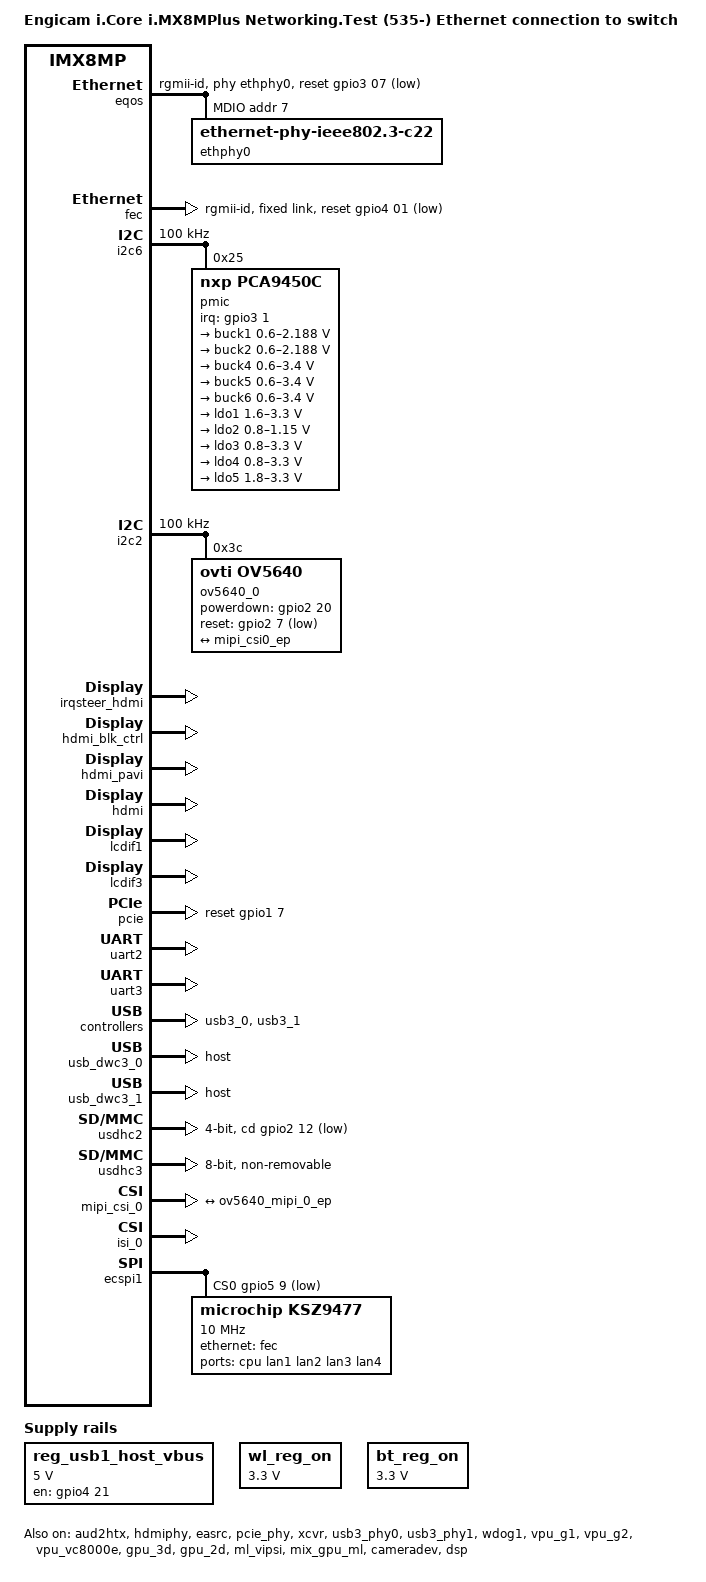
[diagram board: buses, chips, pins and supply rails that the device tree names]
// SPDX-License-Identifier: (GPL-2.0+ OR MIT)
/*
 * Copyright 2020 Engicam
 */

/dts-v1/;

#include <dt-bindings/usb/pd.h>
#include "../freescale/imx8mp.dtsi"


/ {
	model = "Engicam i.Core i.MX8MPlus  Networking.Test (535-) Ethernet connection to switch";
	compatible = "engi,icore-imx8mp", "fsl,imx8mp";

	reserved-memory {
		#address-cells = <2>;
		#size-cells = <2>;
		ranges;

		rpmsg_reserved: rpmsg@0x55800000 {
			no-map;
			reg = <0 0x55800000 0 0x800000>;
		};
	};

	chosen {
		stdout-path = &uart2;
	};

	reg_usb1_host_vbus: regulator-usb1-vbus {
		compatible = "regulator-fixed";
		regulator-name = "usb1_host_vbus";
		pinctrl-names = "default";
		pinctrl-0 = <&pinctrl_usb1_vbus>;
		regulator-min-microvolt = <5000000>;
		regulator-max-microvolt = <5000000>;
		gpio = <&gpio4 21 GPIO_ACTIVE_HIGH>;
		enable-active-high;
		regulator-always-on;
	};


	wl_reg_on: regulator-wlregon {
		compatible = "regulator-fixed";
		regulator-name = "WL_REG_ON";
		regulator-min-microvolt = <3300000>;
		regulator-max-microvolt = <3300000>;
		always-on;
	};

	bt_reg_on: regulator-btregon {
		compatible = "regulator-fixed";
		regulator-name = "BT_REG_ON";
		regulator-min-microvolt = <3300000>;
		regulator-max-microvolt = <3300000>;
		always-on;
	};

	sound-hdmi {
		compatible = "fsl,imx-audio-cdnhdmi";
		model = "audio-hdmi";
		audio-cpu = <&aud2htx>;
		hdmi-out;
		constraint-rate = <44100>,
				<88200>,
				<176400>,
				<32000>,
				<48000>,
				<96000>,
				<192000>;
		status = "okay";
	};

};

&aud2htx {
	status = "okay";
};

&clk {
	init-on-array = <IMX8MP_CLK_HSIO_ROOT>;
};

&A53_0 {
	cpu-supply = <&buck2>;
};

&A53_1 {
	cpu-supply = <&buck2>;
};

&A53_2 {
	cpu-supply = <&buck2>;
};

&A53_3 {
	cpu-supply = <&buck2>;
};

&eqos {
	pinctrl-names = "default";
	pinctrl-0 = <&pinctrl_eqos>;
	phy-mode = "rgmii-id";
	phy-handle = <&ethphy0>;
	status = "okay";

	snps,reset-gpio = <&gpio3 07 GPIO_ACTIVE_LOW>;
	snps,reset-active-low;

	mdio {
		compatible = "snps,dwmac-mdio";
		#address-cells = <1>;
		#size-cells = <0>;

		ethphy0: ethernet-phy@7 {
			compatible = "ethernet-phy-ieee802.3-c22";
			reg = <7>;
			eee-broken-1000t;
		};
	};
};

&fec {
	pinctrl-names = "default";
	pinctrl-0 = <&pinctrl_fec>;
	phy-mode = "rgmii-id";
	fsl,magic-packet;
	status = "okay";

	snps,reset-gpio = <&gpio4 01 GPIO_ACTIVE_LOW>;
	snps,reset-active-low;

	fixed-link {
	    speed = <1000>;
	    full-duplex;
	};
};

&i2c6 {
	clock-frequency = <100000>;
	pinctrl-names = "default";
	pinctrl-0 = <&pinctrl_i2c6>;
	status = "okay";

	pmic: pca9450@25 {
		reg = <0x25>;
		compatible = "nxp,pca9450c";
		/* PMIC PCA9450 PMIC_nINT GPIO1_IO3 */
		pinctrl-0 = <&pinctrl_pmic>;
		interrupt-parent = <&gpio3>;
		interrupts = <1 GPIO_ACTIVE_LOW>;

		regulators {
			buck1: BUCK1 {
				regulator-name = "BUCK1";
				regulator-min-microvolt = <600000>;
				regulator-max-microvolt = <2187500>;
				regulator-boot-on;
				regulator-always-on;
				regulator-ramp-delay = <3125>;
			};

			buck2: BUCK2 {
				regulator-name = "BUCK2";
				regulator-min-microvolt = <600000>;
				regulator-max-microvolt = <2187500>;
				regulator-boot-on;
				regulator-always-on;
				regulator-ramp-delay = <3125>;
				nxp,dvs-run-voltage = <950000>;
				nxp,dvs-standby-voltage = <850000>;
			};

			buck4: BUCK4{
				regulator-name = "BUCK4";
				regulator-min-microvolt = <600000>;
				regulator-max-microvolt = <3400000>;
				regulator-boot-on;
				regulator-always-on;
			};

			buck5: BUCK5{
				regulator-name = "BUCK5";
				regulator-min-microvolt = <600000>;
				regulator-max-microvolt = <3400000>;
				regulator-boot-on;
				regulator-always-on;
			};

			buck6: BUCK6 {
				regulator-name = "BUCK6";
				regulator-min-microvolt = <600000>;
				regulator-max-microvolt = <3400000>;
				regulator-boot-on;
				regulator-always-on;
			};

			ldo1: LDO1 {
				regulator-name = "LDO1";
				regulator-min-microvolt = <1600000>;
				regulator-max-microvolt = <3300000>;
				regulator-boot-on;
				regulator-always-on;
			};

			ldo2: LDO2 {
				regulator-name = "LDO2";
				regulator-min-microvolt = <800000>;
				regulator-max-microvolt = <1150000>;
				regulator-boot-on;
				regulator-always-on;
			};

			ldo3: LDO3 {
				regulator-name = "LDO3";
				regulator-min-microvolt = <800000>;
				regulator-max-microvolt = <3300000>;
				regulator-boot-on;
				regulator-always-on;
			};

			ldo4: LDO4 {
				regulator-name = "LDO4";
				regulator-min-microvolt = <800000>;
				regulator-max-microvolt = <3300000>;
				regulator-boot-on;
				regulator-always-on;
			};

			ldo5: LDO5 {
				regulator-name = "LDO5";
				regulator-min-microvolt = <1800000>;
				regulator-max-microvolt = <3300000>;
				regulator-boot-on;
				regulator-always-on;
			};
		};
	};
};

&i2c2 {
	clock-frequency = <100000>;
	pinctrl-names = "default";
	pinctrl-0 = <&pinctrl_i2c2>;
	status = "okay";

	ov5640_0: ov5640_mipi@3c {
		compatible = "ovti,ov5640";
		reg = <0x3c>;
		pinctrl-names = "default";
		pinctrl-0 = <&pinctrl_csi0_pwn>, <&pinctrl_csi0_rst>;
		clocks = <&clk IMX8MP_CLK_IPP_DO_CLKO2>;
		clock-names = "xclk";
		assigned-clocks = <&clk IMX8MP_CLK_IPP_DO_CLKO2>;
		assigned-clock-parents = <&clk IMX8MP_CLK_24M>;
		assigned-clock-rates = <24000000>;
		csi_id = <0>;
		powerdown-gpios = <&gpio2 20 GPIO_ACTIVE_HIGH>;
		reset-gpios = <&gpio2 7 GPIO_ACTIVE_LOW>;
		mclk = <24000000>;
		mclk_source = <0>;
		mipi_csi;
		status = "okay";

		port {
			ov5640_mipi_0_ep: endpoint {
				remote-endpoint = <&mipi_csi0_ep>;
				data-lanes = <1 2>;
				clock-lanes = <0>;
			};
		};
	};

};


&irqsteer_hdmi {
	status = "okay";
};

&irqsteer_hdmi {
	status = "okay";
};

&hdmi_blk_ctrl {
	status = "okay";
};

&hdmi_pavi {
	status = "okay";
};

&hdmi {
	status = "okay";
};

&hdmiphy {
	status = "okay";
};

&lcdif1 {
	status = "okay";
};

&lcdif2 {
	status = "disabled";
};

&lcdif3 {
	status = "okay";
};

&easrc {
	fsl,asrc-rate  = <48000>;
	status = "okay";
};

&pcie {
	pinctrl-names = "default";
	pinctrl-0 = <&pinctrl_pcie>;
	reset-gpio = <&gpio1 7 0>;
	ext_osc = <1>;
	clocks = <&clk IMX8MP_CLK_HSIO_ROOT>,
		 <&clk IMX8MP_CLK_PCIE_AUX>,
		 <&clk IMX8MP_CLK_HSIO_AXI>,
		 <&clk IMX8MP_CLK_PCIE_ROOT>;
	clock-names = "pcie", "pcie_aux", "pcie_phy", "pcie_bus";
	assigned-clocks = <&clk IMX8MP_CLK_HSIO_AXI_SRC>,
			  <&clk IMX8MP_CLK_PCIE_AUX>;
	assigned-clock-parents = <&clk IMX8MP_SYS_PLL2_500M>,
				 <&clk IMX8MP_SYS_PLL2_50M>;
  	l1ss-disabled;
	status = "okay";
};

&pcie_phy{
	ext_osc = <1>;
	status = "okay";
};


&xcvr {
	#sound-dai-cells = <0>;
	status = "okay";
};

&sdma2 {
	status = "okay";
};



&uart2 {/* console */
	pinctrl-names = "default";
	pinctrl-0 = <&pinctrl_uart2>;
	status = "okay";
};

&uart3 { /* BT UART */
	pinctrl-names = "default";
	pinctrl-0 = <&pinctrl_uart3>;
	assigned-clocks = <&clk IMX8MP_CLK_UART3>;
	assigned-clock-parents = <&clk IMX8MP_SYS_PLL1_80M>;
	fsl,uart-has-rtscts;
	status = "okay";
};

&usb3_phy0 {
	status = "okay";
};

&usb3_0 {
	status = "okay";
};

&usb_dwc3_0 {
	dr_mode = "host";
	status = "okay";
};

&usb3_phy1 {
	status = "okay";
};

&usb3_1 {
	status = "okay";
};

&usb_dwc3_1 {
	dr_mode = "host";
	status = "okay";
};

/* SDCARD */
&usdhc2 {
	pinctrl-names = "default", "state_100mhz", "state_200mhz";
	pinctrl-0 = <&pinctrl_usdhc2>, <&pinctrl_usdhc2_gpio>;
	pinctrl-1 = <&pinctrl_usdhc2_100mhz>, <&pinctrl_usdhc2_gpio>;
	pinctrl-2 = <&pinctrl_usdhc2_200mhz>, <&pinctrl_usdhc2_gpio>;
	cd-gpios = <&gpio2 12 GPIO_ACTIVE_LOW>;
	no-1-8-v;
	bus-width = <4>;
	status = "okay";
};

/* EMMC */
&usdhc3 {
	pinctrl-names = "default", "state_100mhz", "state_200mhz";
	pinctrl-0 = <&pinctrl_usdhc3>;
	pinctrl-1 = <&pinctrl_usdhc3_100mhz>;
	pinctrl-2 = <&pinctrl_usdhc3_200mhz>;
	bus-width = <8>;
	non-removable;
	status = "okay";
};

&wdog1 {
	pinctrl-names = "default";
	pinctrl-0 = <&pinctrl_wdog>;
	fsl,ext-reset-output;
	status = "okay";
};


&vpu_g1 {
	status = "okay";
};

&vpu_g2 {
	status = "okay";
};

&vpu_vc8000e {
	status = "okay";
};

&gpu_3d {
	status = "okay";
};

&gpu_2d {
	status = "okay";
};

&ml_vipsi {
	status = "okay";
};

&mix_gpu_ml {
	status = "okay";
};

&mipi_csi_0 {
	#address-cells = <1>;
	#size-cells = <0>;
	status = "okay";

	port@0 {
		reg = <0>;
		mipi_csi0_ep: endpoint {
			remote-endpoint = <&ov5640_mipi_0_ep>;
			data-lanes = <2>;
			csis-hs-settle = <13>;
			csis-clk-settle = <2>;
			csis-wclk;
		};
	};
};

&cameradev {
	status = "okay";
};

&isi_0 {
	status = "okay";

	cap_device {
		status = "okay";
	};

	m2m_device {
		status = "okay";
	};
};

&dsp {
	status = "okay";
};

&ecspi1{

	fsl,spi-num-chipselects = <1>;
	pinctrl-names = "default";
	pinctrl-0 = <&pinctrl_ecspi1 &pinctrl_ecspi1_cs>;
  	cs-gpios = <&gpio5 9 GPIO_ACTIVE_LOW>;
	id = <1>;
	status = "okay";

	ksz9477: ksz9477@0 {
		compatible = "microchip,ksz9477";
		#address-cells = <1>;
		#size-cells = <0>;
		reg = <0>;

		spi-max-frequency = <10000000>;
		spi-cpha;
		spi-cpol;
		status = "okay";

		ports {
			#address-cells = <1>;
			#size-cells = <0>;
			
			//Phy Mode
			port@0 {
				reg = <0>;
				label = "cpu";
				ethernet = <&fec>;
				fixed-link {
					speed = <1000>;
					full-duplex;
				};
			};
			port@1 {
				reg = <1>;
				label = "lan1";
			};

			port@2 {
				reg = <2>;
				label = "lan2";
			};

			port@3 {
				reg = <3>;
				label = "lan3";
			};

			port@4 {
				reg = <4>;
				label = "lan4";
			};
		};
	};
};

&iomuxc {
	pinctrl-names = "default";
	pinctrl-0 = <&pinctrl_hog>;

	pinctrl_hog: hoggrp {
		fsl,pins = <
			MX8MP_IOMUXC_HDMI_DDC_SCL__HDMIMIX_HDMI_SCL	0x400001c3
			MX8MP_IOMUXC_HDMI_DDC_SDA__HDMIMIX_HDMI_SDA	0x400001c3
			MX8MP_IOMUXC_HDMI_HPD__HDMIMIX_HDMI_HPD		0x40000019
			MX8MP_IOMUXC_HDMI_CEC__HDMIMIX_HDMI_CEC		0x40000019
		>;
	};



	pinctrl_ecspi1: ecspi1grp {
		fsl,pins = <
			MX8MP_IOMUXC_ECSPI1_SCLK__ECSPI1_SCLK		0x82
			MX8MP_IOMUXC_ECSPI1_MOSI__ECSPI1_MOSI		0x82
			MX8MP_IOMUXC_ECSPI1_MISO__ECSPI1_MISO		0x82
		  	MX8MP_IOMUXC_GPIO1_IO01__GPIO1_IO01  		0x41
		>;
	};

	pinctrl_ecspi1_cs: ecspi1cs {
		fsl,pins = <
			  MX8MP_IOMUXC_ECSPI1_SS0__GPIO5_IO09  0x40000
		>;
	};



	pinctrl_eqos: eqosgrp {
		fsl,pins = <
			MX8MP_IOMUXC_ENET_MDC__ENET_QOS_MDC	0x3
			MX8MP_IOMUXC_ENET_MDIO__ENET_QOS_MDIO	0x3
			MX8MP_IOMUXC_ENET_RD0__ENET_QOS_RGMII_RD0	0x91
			MX8MP_IOMUXC_ENET_RD1__ENET_QOS_RGMII_RD1	0x91
			MX8MP_IOMUXC_ENET_RD2__ENET_QOS_RGMII_RD2	0x91
			MX8MP_IOMUXC_ENET_RD3__ENET_QOS_RGMII_RD3	0x91
			MX8MP_IOMUXC_ENET_RXC__CCM_ENET_QOS_CLOCK_GENERATE_RX_CLK	0x91
			MX8MP_IOMUXC_ENET_RX_CTL__ENET_QOS_RGMII_RX_CTL	0x91
			MX8MP_IOMUXC_ENET_TD0__ENET_QOS_RGMII_TD0		0x1f
			MX8MP_IOMUXC_ENET_TD1__ENET_QOS_RGMII_TD1		0x1f
			MX8MP_IOMUXC_ENET_TD2__ENET_QOS_RGMII_TD2		0x1f
			MX8MP_IOMUXC_ENET_TD3__ENET_QOS_RGMII_TD3		0x1f
			MX8MP_IOMUXC_ENET_TX_CTL__ENET_QOS_RGMII_TX_CTL	0x1f
			MX8MP_IOMUXC_ENET_TXC__CCM_ENET_QOS_CLOCK_GENERATE_TX_CLK	0x1f
			MX8MP_IOMUXC_NAND_DATA01__GPIO3_IO07	0x19
		>;
	};

	pinctrl_fec: fecgrp {
		fsl,pins = <
			MX8MP_IOMUXC_SAI1_RXD2__ENET1_MDC		0x3
			MX8MP_IOMUXC_SAI1_RXD3__ENET1_MDIO		0x3
			MX8MP_IOMUXC_SAI1_RXD4__ENET1_RGMII_RD0		0x91
			MX8MP_IOMUXC_SAI1_RXD5__ENET1_RGMII_RD1		0x91
			MX8MP_IOMUXC_SAI1_RXD6__ENET1_RGMII_RD2		0x91
			MX8MP_IOMUXC_SAI1_RXD7__ENET1_RGMII_RD3		0x91
			MX8MP_IOMUXC_SAI1_TXC__ENET1_RGMII_RXC		0x91
			MX8MP_IOMUXC_SAI1_TXFS__ENET1_RGMII_RX_CTL	0x91
			MX8MP_IOMUXC_SAI1_TXD0__ENET1_RGMII_TD0		0x1f
			MX8MP_IOMUXC_SAI1_TXD1__ENET1_RGMII_TD1		0x1f
			MX8MP_IOMUXC_SAI1_TXD2__ENET1_RGMII_TD2		0x1f
			MX8MP_IOMUXC_SAI1_TXD3__ENET1_RGMII_TD3		0x1f
			MX8MP_IOMUXC_SAI1_TXD4__ENET1_RGMII_TX_CTL	0x1f
			MX8MP_IOMUXC_SAI1_TXD5__ENET1_RGMII_TXC		0x1f
			MX8MP_IOMUXC_SAI1_RXC__GPIO4_IO01 		0x19
		>;
	};

	pinctrl_i2c6: i2c6grp {
		fsl,pins = <
			MX8MP_IOMUXC_SAI5_RXFS__I2C6_SCL		0x400001c3
			MX8MP_IOMUXC_SAI5_RXC__I2C6_SDA		0x400001c3
		>;
	};

	pinctrl_i2c2: i2c2grp {
		fsl,pins = <
			MX8MP_IOMUXC_I2C2_SCL__I2C2_SCL		0x400001c3
			MX8MP_IOMUXC_I2C2_SDA__I2C2_SDA		0x400001c3
		>;
	};



	pinctrl_pcie: pciegrp {
		fsl,pins = <
			MX8MP_IOMUXC_GPIO1_IO06__GPIO1_IO06	0x41
		>;
	};

	pinctrl_pmic: pmicirq {
		fsl,pins = <
			MX8MP_IOMUXC_NAND_CE0_B__GPIO3_IO01	0x41
		>;
	};


	pinctrl_uart2: uart2grp {
		fsl,pins = <
			MX8MP_IOMUXC_UART2_RXD__UART2_DCE_RX	0x49
			MX8MP_IOMUXC_UART2_TXD__UART2_DCE_TX	0x49
		>;
	};

	pinctrl_uart3: uart3grp {
		fsl,pins = <
			MX8MP_IOMUXC_UART3_RXD__UART3_DCE_RX	0x140
			MX8MP_IOMUXC_UART3_TXD__UART3_DCE_TX	0x140
			MX8MP_IOMUXC_SD1_STROBE__UART3_DCE_CTS	0x140
			MX8MP_IOMUXC_SD1_RESET_B__UART3_DCE_RTS 0x140
		>;
	};

	pinctrl_usb1_vbus: usb1grp {
		fsl,pins = <
			MX8MP_IOMUXC_SAI2_RXFS__GPIO4_IO21	0x19
		>;
	};

	pinctrl_usdhc1: usdhc1grp {
		fsl,pins = <
			MX8MP_IOMUXC_SD1_CLK__USDHC1_CLK	0x190
			MX8MP_IOMUXC_SD1_CMD__USDHC1_CMD	0x1d0
			MX8MP_IOMUXC_SD1_DATA0__USDHC1_DATA0	0x1d0
			MX8MP_IOMUXC_SD1_DATA1__USDHC1_DATA1	0x1d0
			MX8MP_IOMUXC_SD1_DATA2__USDHC1_DATA2	0x1d0
			MX8MP_IOMUXC_SD1_DATA3__USDHC1_DATA3	0x1d0
		>;
	};

	pinctrl_usdhc1_100mhz: usdhc1grp-100mhz {
		fsl,pins = <
			MX8MP_IOMUXC_SD1_CLK__USDHC1_CLK	0x194
			MX8MP_IOMUXC_SD1_CMD__USDHC1_CMD	0x1d4
			MX8MP_IOMUXC_SD1_DATA0__USDHC1_DATA0	0x1d4
			MX8MP_IOMUXC_SD1_DATA1__USDHC1_DATA1	0x1d4
			MX8MP_IOMUXC_SD1_DATA2__USDHC1_DATA2	0x1d4
			MX8MP_IOMUXC_SD1_DATA3__USDHC1_DATA3	0x1d4
		>;
	};

	pinctrl_usdhc1_200mhz: usdhc1grp-200mhz {
		fsl,pins = <
			MX8MP_IOMUXC_SD1_CLK__USDHC1_CLK	0x196
			MX8MP_IOMUXC_SD1_CMD__USDHC1_CMD	0x1d6
			MX8MP_IOMUXC_SD1_DATA0__USDHC1_DATA0	0x1d6
			MX8MP_IOMUXC_SD1_DATA1__USDHC1_DATA1	0x1d6
			MX8MP_IOMUXC_SD1_DATA2__USDHC1_DATA2	0x1d6
			MX8MP_IOMUXC_SD1_DATA3__USDHC1_DATA3	0x1d6
		>;
	};

	pinctrl_usdhc2_gpio: usdhc2grp-gpio {
		fsl,pins = <
			MX8MP_IOMUXC_SD2_CD_B__GPIO2_IO12 	0x1c4
		>;
	};

	pinctrl_usdhc2: usdhc2grp {
		fsl,pins = <
			MX8MP_IOMUXC_SD2_CLK__USDHC2_CLK	0x190
			MX8MP_IOMUXC_SD2_CMD__USDHC2_CMD	0x1d0
			MX8MP_IOMUXC_SD2_DATA0__USDHC2_DATA0	0x1d0
			MX8MP_IOMUXC_SD2_DATA1__USDHC2_DATA1	0x1d0
			MX8MP_IOMUXC_SD2_DATA2__USDHC2_DATA2	0x1d0
			MX8MP_IOMUXC_SD2_DATA3__USDHC2_DATA3	0x1d0
			MX8MP_IOMUXC_GPIO1_IO04__USDHC2_VSELECT	0xc1
		>;
	};

	pinctrl_usdhc2_100mhz: usdhc2grp-100mhz {
		fsl,pins = <
			MX8MP_IOMUXC_SD2_CLK__USDHC2_CLK	0x194
			MX8MP_IOMUXC_SD2_CMD__USDHC2_CMD	0x1d4
			MX8MP_IOMUXC_SD2_DATA0__USDHC2_DATA0	0x1d4
			MX8MP_IOMUXC_SD2_DATA1__USDHC2_DATA1	0x1d4
			MX8MP_IOMUXC_SD2_DATA2__USDHC2_DATA2	0x1d4
			MX8MP_IOMUXC_SD2_DATA3__USDHC2_DATA3	0x1d4
			MX8MP_IOMUXC_GPIO1_IO04__USDHC2_VSELECT 0xc1
		>;
	};

	pinctrl_usdhc2_200mhz: usdhc2grp-200mhz {
		fsl,pins = <
			MX8MP_IOMUXC_SD2_CLK__USDHC2_CLK	0x196
			MX8MP_IOMUXC_SD2_CMD__USDHC2_CMD	0x1d6
			MX8MP_IOMUXC_SD2_DATA0__USDHC2_DATA0	0x1d6
			MX8MP_IOMUXC_SD2_DATA1__USDHC2_DATA1	0x1d6
			MX8MP_IOMUXC_SD2_DATA2__USDHC2_DATA2	0x1d6
			MX8MP_IOMUXC_SD2_DATA3__USDHC2_DATA3	0x1d6
			MX8MP_IOMUXC_GPIO1_IO04__USDHC2_VSELECT 0xc1
		>;
	};

	pinctrl_usdhc3: usdhc3grp {
		fsl,pins = <
			MX8MP_IOMUXC_NAND_WE_B__USDHC3_CLK	0x190
			MX8MP_IOMUXC_NAND_WP_B__USDHC3_CMD	0x1d0
			MX8MP_IOMUXC_NAND_DATA04__USDHC3_DATA0	0x1d0
			MX8MP_IOMUXC_NAND_DATA05__USDHC3_DATA1	0x1d0
			MX8MP_IOMUXC_NAND_DATA06__USDHC3_DATA2	0x1d0
			MX8MP_IOMUXC_NAND_DATA07__USDHC3_DATA3	0x1d0
			MX8MP_IOMUXC_NAND_RE_B__USDHC3_DATA4	0x1d0
			MX8MP_IOMUXC_NAND_CE2_B__USDHC3_DATA5	0x1d0
			MX8MP_IOMUXC_NAND_CE3_B__USDHC3_DATA6	0x1d0
			MX8MP_IOMUXC_NAND_CLE__USDHC3_DATA7	0x1d0
			MX8MP_IOMUXC_NAND_CE1_B__USDHC3_STROBE	0x190
		>;
	};

	pinctrl_usdhc3_100mhz: usdhc3grp-100mhz {
		fsl,pins = <
			MX8MP_IOMUXC_NAND_WE_B__USDHC3_CLK	0x194
			MX8MP_IOMUXC_NAND_WP_B__USDHC3_CMD	0x1d4
			MX8MP_IOMUXC_NAND_DATA04__USDHC3_DATA0	0x1d4
			MX8MP_IOMUXC_NAND_DATA05__USDHC3_DATA1	0x1d4
			MX8MP_IOMUXC_NAND_DATA06__USDHC3_DATA2	0x1d4
			MX8MP_IOMUXC_NAND_DATA07__USDHC3_DATA3	0x1d4
			MX8MP_IOMUXC_NAND_RE_B__USDHC3_DATA4	0x1d4
			MX8MP_IOMUXC_NAND_CE2_B__USDHC3_DATA5	0x1d4
			MX8MP_IOMUXC_NAND_CE3_B__USDHC3_DATA6	0x1d4
			MX8MP_IOMUXC_NAND_CLE__USDHC3_DATA7	0x1d4
			MX8MP_IOMUXC_NAND_CE1_B__USDHC3_STROBE	0x194
		>;
	};

	pinctrl_usdhc3_200mhz: usdhc3grp-200mhz {
		fsl,pins = <
			MX8MP_IOMUXC_NAND_WE_B__USDHC3_CLK	0x196
			MX8MP_IOMUXC_NAND_WP_B__USDHC3_CMD	0x1d6
			MX8MP_IOMUXC_NAND_DATA04__USDHC3_DATA0	0x1d6
			MX8MP_IOMUXC_NAND_DATA05__USDHC3_DATA1	0x1d6
			MX8MP_IOMUXC_NAND_DATA06__USDHC3_DATA2	0x1d6
			MX8MP_IOMUXC_NAND_DATA07__USDHC3_DATA3	0x1d6
			MX8MP_IOMUXC_NAND_RE_B__USDHC3_DATA4	0x1d6
			MX8MP_IOMUXC_NAND_CE2_B__USDHC3_DATA5	0x1d6
			MX8MP_IOMUXC_NAND_CE3_B__USDHC3_DATA6	0x1d6
			MX8MP_IOMUXC_NAND_CLE__USDHC3_DATA7	0x1d6
			MX8MP_IOMUXC_NAND_CE1_B__USDHC3_STROBE	0x196
		>;
	};

	pinctrl_wdog: wdoggrp {
		fsl,pins = <
			MX8MP_IOMUXC_GPIO1_IO02__WDOG1_WDOG_B	0xc6
		>;
	};

	pinctrl_csi0_pwn: csi0_pwn_grp {
		fsl,pins = <
			MX8MP_IOMUXC_SD2_WP__GPIO2_IO20	0x19
		>;
	};

	pinctrl_csi0_rst: csi0_rst_grp {
		fsl,pins = <
			MX8MP_IOMUXC_SD1_DATA5__GPIO2_IO07	0x19
		>;
	};
};

